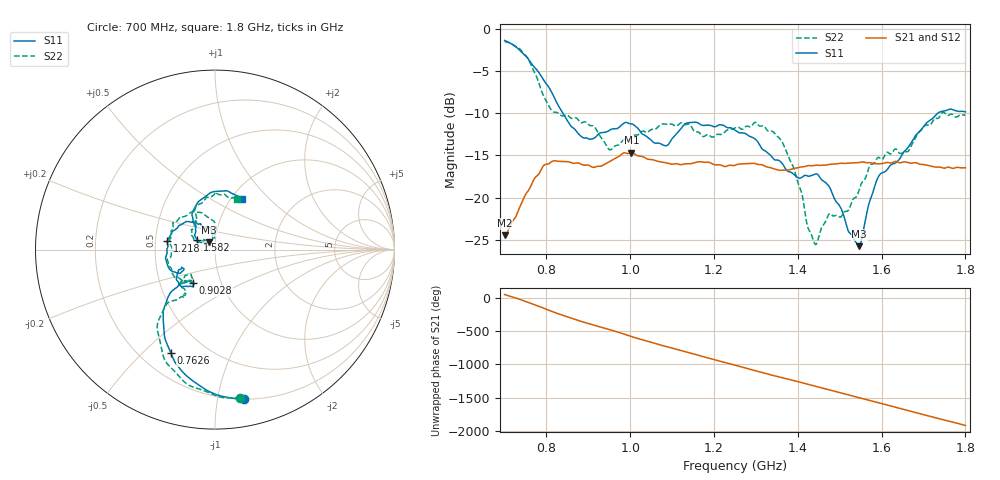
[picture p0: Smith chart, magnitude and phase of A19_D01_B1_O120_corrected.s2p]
! Created with skrf 1.9.0 (http://scikit-rf.org).
# Hz S RI R 50.0
!freq ReS11 ImS11 ReS21 ImS21 ReS12 ImS12 ReS22 ImS22
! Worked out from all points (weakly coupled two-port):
!   1601 points, 700 MHz to 1.8 GHz, reference 50 ohm
!   highest |S21| = -14.67 dB at 1.002 GHz (marker M1); lowest = -24.4 dB at 700.7 MHz (marker M2)
!   lowest |S11| = -25.7 dB at 1.546 GHz (marker M3), VSWR 1.11, Z = 46.7 + j3.74 ohm
!   |S11| at or under -10 dB: 838.9 MHz to 1.734 GHz (895.3 MHz wide, 69.6 % of centre)
!   |S22| runs from -25.5 to -1.5 dB; largest |S21 - S12| = 0.0036
!   S11 on the Smith chart (normalised r, x): 700 MHz: 0.20, -1.19; 762.6 MHz: 0.32, -0.61; 902.8 MHz: 0.74, -0.29; 1.218 GHz: 0.58, +0.06; 1.582 GHz: 0.81, +0.09; 1.8 GHz: 1.12, +0.71
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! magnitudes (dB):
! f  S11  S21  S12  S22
! 700 MHz  -1.4  -24.4  -24.2  -1.5
! 700.7 MHz  -1.4  -24.4  -24.1  -1.5
! 762.6 MHz  -4.1  -18.6  -18.6  -4.2
! 812.1 MHz  -7.5  -15.7  -15.7  -9.7
! 883.6 MHz  -12.8  -16.1  -15.9  -11.1
! 902.8 MHz  -13.1  -16.2  -16.2  -11.4
! 950.9 MHz  -12.0  -15.7  -15.7  -14.3
! 1.002 GHz  -11.3  -14.7  -14.8  -12.9
! 1.067 GHz  -13.5  -15.7  -15.7  -11.6
! 1.137 GHz  -11.2  -16.0  -16.0  -11.3
! 1.218 GHz  -11.4  -16.2  -16.2  -12.5
! 1.25 GHz  -12.0  -16.2  -16.1  -11.8
! 1.359 GHz  -15.8  -16.8  -16.8  -13.2
! 1.392 GHz  -17.3  -16.5  -16.5  -16.8
! 1.434 GHz  -17.3  -16.2  -16.2  -24.5
! 1.445 GHz  -17.2  -16.1  -16.2  -25.5
! 1.473 GHz  -18.6  -16.1  -16.1  -22.0
! 1.546 GHz  -25.7  -15.8  -15.8  -19.1
! 1.582 GHz  -18.9  -15.9  -16.0  -15.9
! 1.617 GHz  -16.4  -15.9  -15.8  -14.7
! 1.735 GHz  -10.0  -16.4  -16.4  -10.6
! 1.8 GHz  -9.9  -16.5  -16.5  -10.2
